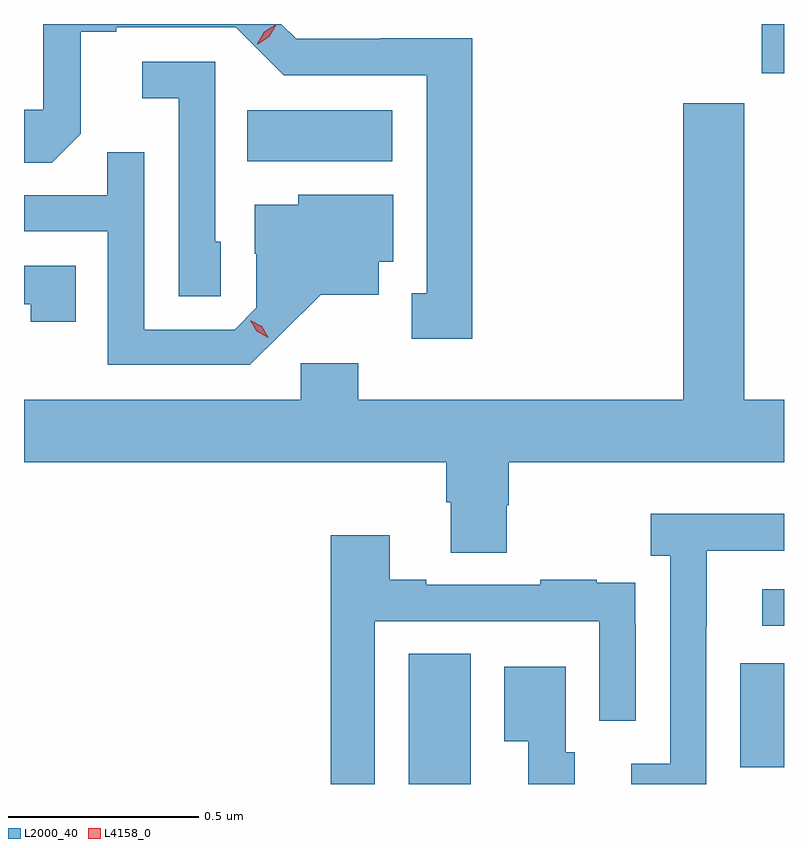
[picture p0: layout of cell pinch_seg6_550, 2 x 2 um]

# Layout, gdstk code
import gdstk
lib = gdstk.Library(unit=1e-6, precision=1e-09)
def R(c, l, rs):  # rectangles x0, y0, x1, y1
    for r in rs: c.add(gdstk.rectangle(r[:2], r[2:], *l))
def P(c, l, *ps):  # polygons
    for p in ps: c.add(gdstk.Polygon(p, *l))
L2000_40 = (2000, 40)
L4158_0 = (4158, 0)

pinch_seg6_550 = lib.new_cell('pinch_seg6_550')
R(pinch_seg6_550, L2000_40, [(772.046,937.165,772.21,937.508), (772.919,937.209,773.034,937.483), (772.977,937.581,773.034,937.677), (771.622,938.804,772.003,938.938), (772.976,939.035,773.034,939.165)])
P(pinch_seg6_550, L2000_40, [(772.213,939.128),(771.972,939.128),(771.972,939.126),(771.75,939.126),(771.711,939.165),(771.084,939.165),(771.084,938.94),(771.034,938.94),(771.034,938.8),(771.107,938.8),(771.183,938.876),(771.183,939.144),(771.277,939.144),(771.277,939.156),(771.591,939.156),(771.717,939.03),(772.094,939.03),(772.094,938.457),(772.055,938.457),(772.055,938.337),(772.213,938.337)],
  [(771.552,938.592),(771.537,938.592),(771.537,939.066),(771.345,939.066),(771.345,938.969),(771.441,938.969),(771.441,938.449),(771.552,938.449)],
  [(772.305,937.899),(772.31,937.899),(772.31,938.012),(773.034,938.012),(773.034,938.176),(772.929,938.176),(772.929,938.956),(772.769,938.956),(772.769,938.176),(771.914,938.176),(771.914,938.272),(771.762,938.272),(771.762,938.176),(771.034,938.176),(771.034,938.012),(772.145,938.012),(772.145,937.906),(772.157,937.906),(772.157,937.774),(772.305,937.774)],
  [(771.712,938.351),(771.815,938.453),(771.967,938.453),(771.967,938.54),(772.006,938.54),(772.006,938.716),(771.756,938.716),(771.756,938.689),(771.641,938.689),(771.641,938.56),(771.645,938.56),(771.645,938.418),(771.588,938.361),(771.351,938.361),(771.351,938.828),(771.253,938.828),(771.253,938.715),(771.034,938.715),(771.034,938.619),(771.255,938.619),(771.255,938.268),(771.628,938.268)],
  [(771.17,938.529),(771.034,938.529),(771.034,938.428),(771.052,938.428),(771.052,938.382),(771.17,938.382)],
  [(772.83,937.579),(772.831,937.579),(772.831,937.779),(773.034,937.779),(773.034,937.876),(772.683,937.876),(772.683,937.766),(772.734,937.766),(772.734,937.218),(772.632,937.218),(772.632,937.165),(772.83,937.165)],
  [(771.957,937.593),(772.548,937.593),(772.548,937.332),(772.644,937.332),(772.644,937.586),(772.643,937.586),(772.643,937.695),(772.541,937.695),(772.541,937.702),(772.393,937.702),(772.393,937.689),(772.093,937.689),(772.093,937.702),(771.997,937.702),(771.997,937.819),(771.841,937.819),(771.841,937.165),(771.957,937.165)],
  [(772.483,937.248),(772.459,937.248),(772.459,937.474),(772.298,937.474),(772.298,937.277),(772.361,937.277),(772.361,937.165),(772.483,937.165)])
P(pinch_seg6_550, L4158_0, [(771.648,939.112),(771.648,939.113),(771.666,939.145),(771.698,939.164),(771.698,939.164),(771.698,939.163),(771.68,939.131),(771.649,939.112)],
  [(771.677,938.34),(771.646,938.356),(771.629,938.385),(771.629,938.385),(771.629,938.385),(771.66,938.37),(771.677,938.341),(771.677,938.34)])

lib.write_gds('pinch_seg6_550.gds')
